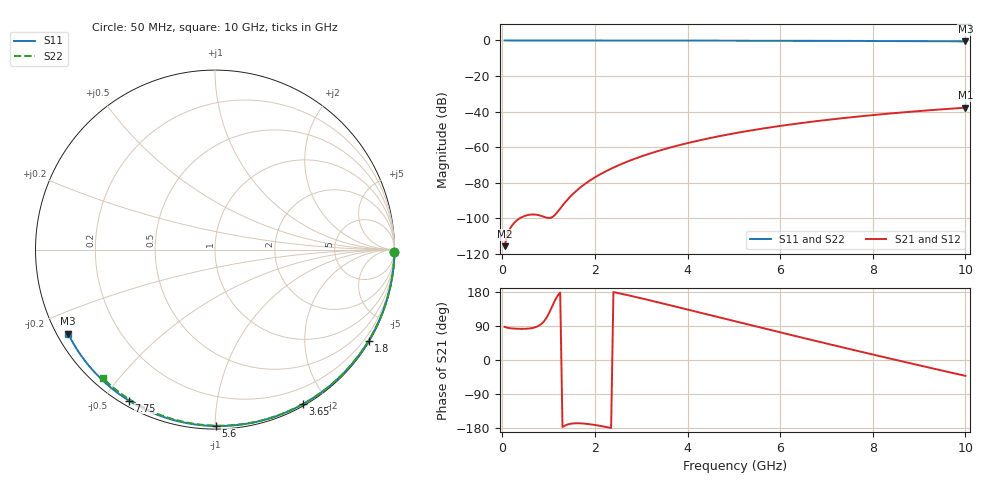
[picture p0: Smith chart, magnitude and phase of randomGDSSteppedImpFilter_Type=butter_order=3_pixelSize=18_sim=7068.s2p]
! freq	dB(S11)	phase(S11)	dB(S12)	phase(S12)
!  dB(S21)	phase(S21)	dB(S22)	phase(S22)
!S-par simulation data
#  GHz  S  DB  R 50
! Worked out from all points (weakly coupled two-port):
!   200 points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, 50 MHz to 10 GHz, reference 50 ohm
!   highest |S21| = -37.80 dB at 10 GHz (marker M1); lowest = -115.7 dB at 50 MHz (marker M2)
!   lowest |S11| = -0.5 dB at 10 GHz (marker M3), VSWR 34.06, Z = 1.57 - j13.3 ohm
!   |S11| at or under -10 dB: nowhere
!   |S22| runs from -0.4 to 0.0 dB; largest |S21 - S12| = 0
!   S11 on the Smith chart (normalised r, x): 50 MHz: open; 1.8 GHz: 0.03, -3.65; 3.65 GHz: 0.02, -1.71; 5.6 GHz: 0.02, -1.00; 7.75 GHz: 0.02, -0.58; 10 GHz: 0.03, -0.27
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0.05  -0.00 -0.9  -115.68 87.5  -115.68 87.5  -0.00 -0.8
0.45  -0.01 -7.8  -99.01 82.2  -99.01 82.2  -0.01 -6.8
0.9  -0.02 -15.5  -99.18 101.9  -99.18 101.9  -0.02 -13.6
1.75  -0.04 -29.8  -81.36 -167.6  -81.36 -167.6  -0.03 -26.1
1.8  -0.04 -30.6  -80.40 -168.2  -80.40 -168.2  -0.03 -26.9
1.85  -0.04 -31.5  -79.50 -168.9  -79.50 -168.9  -0.04 -27.6
2.05  -0.04 -34.8  -76.21 -172.5  -76.21 -172.5  -0.04 -30.5
2.2  -0.05 -37.2  -74.06 -175.8  -74.06 -175.8  -0.04 -32.7
2.55  -0.06 -43.0  -69.74 175.4  -69.74 175.4  -0.05 -37.8
2.95  -0.06 -49.4  -65.68 164.3  -65.68 164.3  -0.06 -43.5
3.4  -0.08 -56.6  -61.89 151.2  -61.89 151.2  -0.07 -49.8
3.65  -0.08 -60.5  -60.05 143.7  -60.05 143.7  -0.07 -53.3
4.3  -0.10 -70.5  -55.92 124.2  -55.92 124.2  -0.09 -62.1
5.05  -0.13 -81.7  -52.04 101.6  -52.04 101.6  -0.11 -72.1
5.6  -0.15 -89.8  -49.63 85.0  -49.63 85.0  -0.13 -79.2
6.15  -0.17 -97.6  -47.52 68.6  -47.52 68.6  -0.15 -86.1
6.7  -0.21 -105.3  -45.65 52.3  -45.65 52.3  -0.18 -92.9
7.2  -0.24 -112.2  -44.12 37.6  -44.12 37.6  -0.21 -98.9
7.75  -0.28 -119.7  -42.61 21.6  -42.61 21.6  -0.24 -105.5
8.35  -0.33 -127.8  -41.13 4.4  -41.13 4.4  -0.29 -112.4
9.2  -0.41 -139.3  -39.29 -19.6  -39.29 -19.6  -0.36 -122.2
10  -0.51 -150.2  -37.80 -41.8  -37.80 -41.8  -0.44 -131.2
